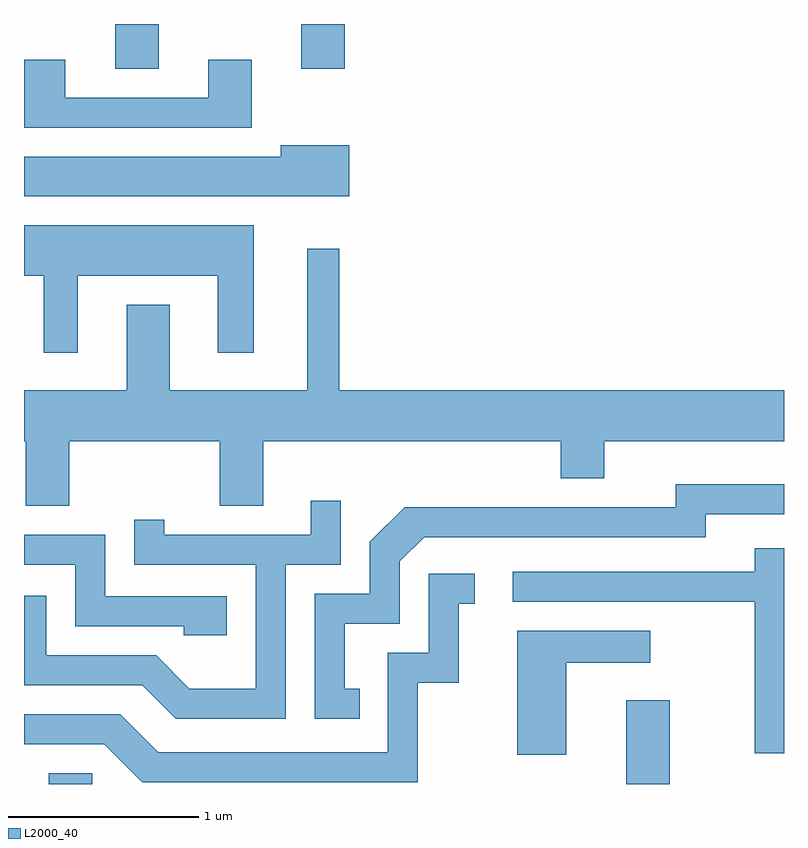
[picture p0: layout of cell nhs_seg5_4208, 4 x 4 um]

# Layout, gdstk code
import gdstk
lib = gdstk.Library(unit=1e-6, precision=1e-09)
def R(c, l, rs):  # rectangles x0, y0, x1, y1
    for r in rs: c.add(gdstk.rectangle(r[:2], r[2:], *l))
def P(c, l, *ps):  # polygons
    for p in ps: c.add(gdstk.Polygon(p, *l))
L2000_40 = (2000, 40)

nhs_seg5_4208 = lib.new_cell('nhs_seg5_4208')
R(nhs_seg5_4208, L2000_40, [(309.741,1486.072,309.969,1486.129), (312.781,1486.072,313.009,1486.514), (310.091,1489.836,310.319,1490.072), (311.071,1489.836,311.299,1490.072)])
P(nhs_seg5_4208, L2000_40, [(310.809,1489.884),(310.581,1489.884),(310.581,1489.684),(309.829,1489.684),(309.829,1489.884),(309.611,1489.884),(309.611,1489.526),(310.809,1489.526)],
  [(311.324,1489.434),(310.961,1489.434),(310.961,1489.374),(309.611,1489.374),(309.611,1489.166),(311.324,1489.166)],
  [(309.894,1488.746),(310.631,1488.746),(310.631,1488.341),(310.819,1488.341),(310.819,1489.014),(309.611,1489.014),(309.611,1488.746),(309.716,1488.746),(309.716,1488.341),(309.894,1488.341)],
  [(309.849,1487.876),(310.641,1487.876),(310.641,1487.536),(310.869,1487.536),(310.869,1487.876),(312.436,1487.876),(312.436,1487.681),(312.664,1487.681),(312.664,1487.876),(313.611,1487.876),(313.611,1488.144),(311.269,1488.144),(311.269,1488.888),(311.101,1488.888),(311.101,1488.144),(310.379,1488.144),(310.379,1488.594),(310.151,1488.594),(310.151,1488.144),(309.611,1488.144),(309.611,1487.876),(309.621,1487.876),(309.621,1487.536),(309.849,1487.536)],
  [(311.378,1486.574),(311.299,1486.574),(311.299,1486.916),(311.589,1486.916),(311.589,1487.244),(311.717,1487.371),(313.199,1487.371),(313.199,1487.491),(313.611,1487.491),(313.611,1487.649),(313.041,1487.649),(313.041,1487.529),(311.614,1487.529),(311.431,1487.347),(311.431,1487.074),(311.141,1487.074),(311.141,1486.416),(311.378,1486.416)],
  [(310.989,1487.226),(311.279,1487.226),(311.279,1487.563),(311.121,1487.563),(311.121,1487.384),(310.349,1487.384),(310.349,1487.463),(310.191,1487.463),(310.191,1487.226),(310.831,1487.226),(310.831,1486.574),(310.482,1486.574),(310.307,1486.749),(309.729,1486.749),(309.729,1487.064),(309.611,1487.064),(309.611,1486.591),(310.234,1486.591),(310.409,1486.416),(310.989,1486.416)],
  [(310.679,1487.059),(310.039,1487.059),(310.039,1487.384),(309.611,1487.384),(309.611,1487.226),(309.881,1487.226),(309.881,1486.901),(310.451,1486.901),(310.451,1486.856),(310.679,1486.856)],
  [(313.611,1487.313),(313.456,1487.313),(313.456,1487.189),(312.183,1487.189),(312.183,1487.031),(313.456,1487.031),(313.456,1486.233),(313.611,1486.233)],
  [(311.684,1486.606),(311.899,1486.606),(311.899,1487.021),(311.983,1487.021),(311.983,1487.179),(311.741,1487.179),(311.741,1486.764),(311.526,1486.764),(311.526,1486.239),(310.317,1486.239),(310.117,1486.439),(309.611,1486.439),(309.611,1486.281),(310.034,1486.281),(310.234,1486.081),(311.684,1486.081)],
  [(312.464,1486.711),(312.908,1486.711),(312.908,1486.879),(312.206,1486.879),(312.206,1486.226),(312.464,1486.226)])

lib.write_gds('nhs_seg5_4208.gds')
